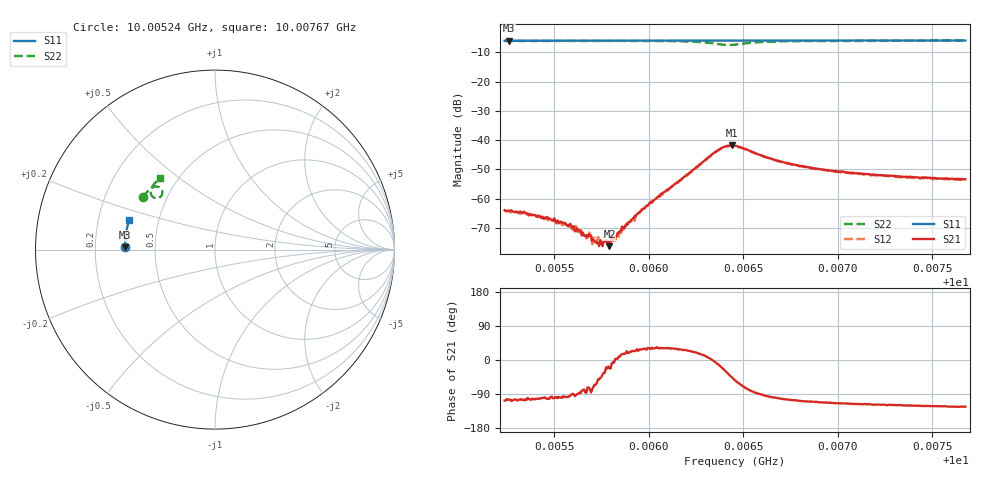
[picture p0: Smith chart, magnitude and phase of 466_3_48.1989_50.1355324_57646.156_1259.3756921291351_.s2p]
#  HZ  S  RI  R  50.00
! Rohde & Schwarz Vector Network Analyzer
! Rohde-Schwarz,ZNB20-2Port,1311601062101988,3.16
! Created: UTC 3/20/2024, 11:56:58 AM
! freq[Hz]  re:S11  im:S11  re:S21  im:S21  re:S12  im:S12  re:S22  im:S22
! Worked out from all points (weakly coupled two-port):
!   401 points, 10.00524 GHz to 10.00767 GHz, reference 50 ohm
!   highest |S21| = -41.83 dB at 10.00644 GHz (marker M1); lowest = -76.3 dB at 10.00579 GHz (marker M2)
!   lowest |S11| = -6.0 dB at 10.00526 GHz (marker M3), VSWR 3.01, Z = 16.6 + j0.605 ohm
!   |S11| at or under -10 dB: nowhere
!   |S22| runs from -7.5 to -6.0 dB; largest |S21 - S12| = 0.00049
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1.0005237e10  -0.5009 0.012  -0.000185 -0.000603  -0.000149 -0.000605  -0.4008 0.2913
1.0005261e10  -0.5008 0.0136  -0.000155 -0.000597  -0.000131 -0.000586  -0.3999 0.2926
1.0005389e10  -0.5009 0.0221  -0.000124 -0.000512  -8.23e-05 -0.000523  -0.3948 0.3001
1.0005542e10  -0.5007 0.0321  -6.54e-05 -0.000384  -3.93e-05 -0.000349  -0.3882 0.3092
1.0005615e10  -0.5005 0.0367  -1.27e-05 -0.000289  -2.67e-06 -0.000334  -0.3849 0.3137
1.0005645e10  -0.5004 0.0387  3.74e-05 -0.00023  3.82e-05 -0.000271  -0.3832 0.3156
1.0005664e10  -0.5003 0.0398  1.78e-05 -0.000226  4.6e-05 -0.000228  -0.3824 0.3167
1.00057e10  -0.5002 0.0422  4.12e-05 -0.000187  5.91e-05 -0.000145  -0.3804 0.3189
1.0005712e10  -0.5003 0.0429  7.96e-05 -0.000174  0.000101 -0.000188  -0.3799 0.3196
1.0005724e10  -0.5002 0.0438  8.56e-05 -0.000158  0.000109 -0.00014  -0.3793 0.3204
1.0005779e10  -0.4999 0.0474  0.000178 -7.44e-05  0.000167 -7.32e-05  -0.3762 0.3239
1.0005792e10  -0.4999 0.0482  0.000143 -5.57e-05  0.00016 -2.6e-05  -0.3755 0.3247
1.0005828e10  -0.4997 0.0506  0.000225 1.29e-05  0.000244 1.65e-05  -0.3734 0.3271
1.0005962e10  -0.4991 0.0592  0.000551 0.000298  0.00055 0.000355  -0.3644 0.3359
1.0006054e10  -0.4984 0.0654  0.000934 0.000548  0.000877 0.000628  -0.3566 0.3421
1.0006358e10  -0.4956 0.0848  0.00644 -0.000935  0.00637 -0.000571  -0.2953 0.3303
1.0006438e10  -0.4947 0.0893  0.00572 -0.00573  0.0059 -0.00532  -0.3092 0.2903
1.0006456e10  -0.4946 0.0904  0.00474 -0.00642  0.00501 -0.00601  -0.3192 0.2867
1.0006675e10  -0.493 0.1045  -0.0008 -0.00443  -0.000572 -0.00437  -0.3579 0.3281
1.0006864e10  -0.4907 0.1165  -0.00114 -0.00313  -0.000993 -0.00312  -0.3497 0.3501
1.0007272e10  -0.4848 0.1423  -0.00118 -0.00215  -0.00104 -0.00218  -0.3286 0.3771
1.0007675e10  -0.4776 0.1672  -0.00117 -0.00179  -0.00108 -0.00183  -0.308 0.397
